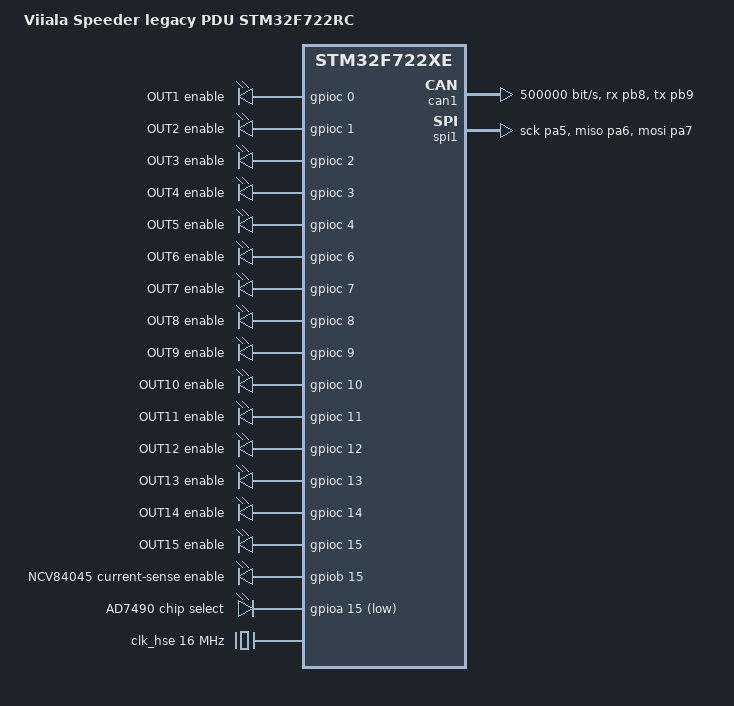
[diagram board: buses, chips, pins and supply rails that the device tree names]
/*
 * Copyright (c) 2026
 * SPDX-License-Identifier: Apache-2.0
 *
 * Hardware source: SPEEDER_PDU_v2.pdf, generated 2026-11-11.
 * MCU: STM32F722RCT6 (LQFP64, 256 KiB flash)
 * HSE: 16 MHz crystal
 */

/dts-v1/;

#include <st/f7/stm32f722Xe.dtsi>
#include <st/f7/stm32f722r(c-e)tx-pinctrl.dtsi>
#include <zephyr/dt-bindings/gpio/gpio.h>
#include <zephyr/dt-bindings/clock/stm32f7_clock.h>

/ {
	model = "Viiala Speeder legacy PDU STM32F722RC";
	compatible = "viiala,speeder-pdu-f7";

	chosen {
		zephyr,sram = &sram0;
		zephyr,flash = &flash0;
		zephyr,canbus = &can1;
		zephyr,code-partition = &slot0_partition;
	};

	/* The NCV84045 inputs have hardware pull-downs: reset/high-Z is OFF. */
	power_outputs: power_outputs {
		compatible = "gpio-leds";

		out1  { gpios = <&gpioc 0  GPIO_ACTIVE_HIGH>; label = "OUT1 enable";  };
		out2  { gpios = <&gpioc 1  GPIO_ACTIVE_HIGH>; label = "OUT2 enable";  };
		out3  { gpios = <&gpioc 2  GPIO_ACTIVE_HIGH>; label = "OUT3 enable";  };
		out4  { gpios = <&gpioc 3  GPIO_ACTIVE_HIGH>; label = "OUT4 enable";  };
		out5  { gpios = <&gpioc 4  GPIO_ACTIVE_HIGH>; label = "OUT5 enable";  };
		out6  { gpios = <&gpioc 6  GPIO_ACTIVE_HIGH>; label = "OUT6 enable";  };
		out7  { gpios = <&gpioc 7  GPIO_ACTIVE_HIGH>; label = "OUT7 enable";  };
		out8  { gpios = <&gpioc 8  GPIO_ACTIVE_HIGH>; label = "OUT8 enable";  };
		out9  { gpios = <&gpioc 9  GPIO_ACTIVE_HIGH>; label = "OUT9 enable";  };
		out10 { gpios = <&gpioc 10 GPIO_ACTIVE_HIGH>; label = "OUT10 enable"; };
		out11 { gpios = <&gpioc 11 GPIO_ACTIVE_HIGH>; label = "OUT11 enable"; };
		out12 { gpios = <&gpioc 12 GPIO_ACTIVE_HIGH>; label = "OUT12 enable"; };
		out13 { gpios = <&gpioc 13 GPIO_ACTIVE_HIGH>; label = "OUT13 enable"; };
		out14 { gpios = <&gpioc 14 GPIO_ACTIVE_HIGH>; label = "OUT14 enable"; };
		out15 { gpios = <&gpioc 15 GPIO_ACTIVE_HIGH>; label = "OUT15 enable"; };
	};

	current_sense_controls {
		compatible = "gpio-leds";

		current_sense_enable: cs_en {
			gpios = <&gpiob 15 GPIO_ACTIVE_HIGH>;
			label = "NCV84045 current-sense enable";
		};

		adc_cs: adc_cs {
			gpios = <&gpioa 15 GPIO_ACTIVE_LOW>;
			label = "AD7490 chip select";
		};
	};
};

&clk_hse {
	clock-frequency = <DT_FREQ_M(16)>;
	status = "okay";
};

/* 16 MHz / 8 * 216 / 2 = 216 MHz. */
&pll {
	div-m = <8>;
	mul-n = <216>;
	div-p = <2>;
	div-q = <9>;
	clocks = <&clk_hse>;
	status = "okay";
};

&rcc {
	clocks = <&pll>;
	clock-frequency = <DT_FREQ_M(216)>;
	ahb-prescaler = <1>;
	apb1-prescaler = <4>;
	apb2-prescaler = <2>;
};

/*
 * Upstream stm32f722Xe.dtsi describes the 512 KiB E variant. The fitted
 * STM32F722RCT6 is the 256 KiB C variant, so constrain both values here.
 */
&flash0 {
	reg = <0x08000000 DT_SIZE_K(256)>;
	ranges = <0 0x08000000 DT_SIZE_K(256)>;

	partitions {
		compatible = "fixed-partitions";
		#address-cells = <1>;
		#size-cells = <1>;

		/* Sectors 0-3: four 16 KiB sectors. */
		boot_partition: partition@0 {
			label = "mcuboot";
			reg = <0x00000000 DT_SIZE_K(64)>;
			read-only;
		};

		/* Sector 4: one 64 KiB sector. */
		slot0_partition: partition@10000 {
			label = "image-0";
			reg = <0x00010000 DT_SIZE_K(64)>;
		};

		/* Sector 5: one 128 KiB sector. */
		slot1_partition: partition@20000 {
			label = "image-1";
			reg = <0x00020000 DT_SIZE_K(128)>;
		};
	};
};

&can1 {
	pinctrl-0 = <&can1_rx_pb8 &can1_tx_pb9>;
	pinctrl-names = "default";
	bitrate = <500000>;
	status = "okay";
};

&spi1 {
	pinctrl-0 = <&spi1_sck_pa5 &spi1_miso_pa6 &spi1_mosi_pa7>;
	pinctrl-names = "default";
	status = "okay";
};

&usart2 {
	status = "disabled";
};
